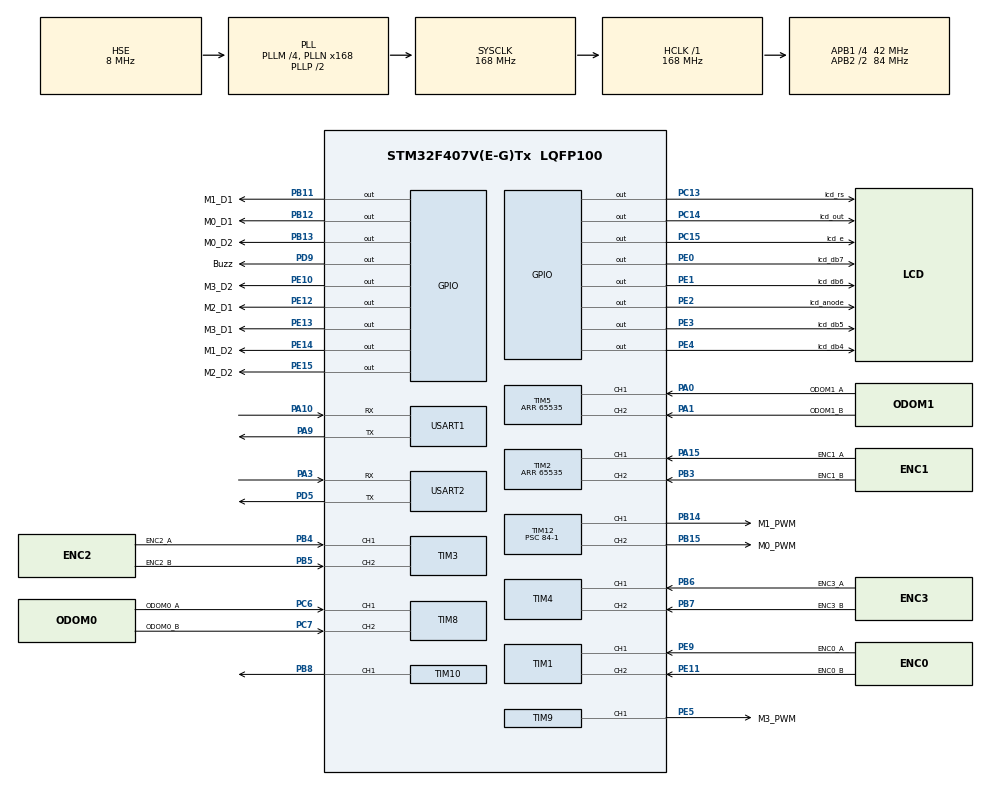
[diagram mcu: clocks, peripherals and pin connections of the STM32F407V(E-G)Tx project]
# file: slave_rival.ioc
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Dma.Request0=USART2_RX
Dma.Request1=USART2_TX
Dma.USART2_RX.0.Direction=DMA_PERIPH_TO_MEMORY
Dma.USART2_RX.0.FIFOMode=DMA_FIFOMODE_DISABLE
Dma.USART2_RX.0.Instance=DMA1_Stream5
Dma.USART2_RX.0.MemDataAlignment=DMA_MDATAALIGN_BYTE
Dma.USART2_RX.0.MemInc=DMA_MINC_ENABLE
Dma.USART2_RX.0.Mode=DMA_NORMAL
Dma.USART2_RX.0.PeriphDataAlignment=DMA_PDATAALIGN_BYTE
Dma.USART2_RX.0.PeriphInc=DMA_PINC_DISABLE
Dma.USART2_RX.0.Priority=DMA_PRIORITY_LOW
Dma.USART2_TX.1.Direction=DMA_MEMORY_TO_PERIPH
Dma.USART2_TX.1.FIFOMode=DMA_FIFOMODE_DISABLE
Dma.USART2_TX.1.Instance=DMA1_Stream6
Dma.USART2_TX.1.MemDataAlignment=DMA_MDATAALIGN_BYTE
Dma.USART2_TX.1.MemInc=DMA_MINC_ENABLE
Dma.USART2_TX.1.Mode=DMA_NORMAL
Dma.USART2_TX.1.PeriphDataAlignment=DMA_PDATAALIGN_BYTE
Dma.USART2_TX.1.PeriphInc=DMA_PINC_DISABLE
Dma.USART2_TX.1.Priority=DMA_PRIORITY_LOW
Mcu.Family=STM32F4
Mcu.Name=STM32F407V(E-G)Tx
Mcu.Package=LQFP100
NVIC.DMA1_Stream5_IRQn=true\:0\:0\:false\:false\:true\:false\:true\:true
NVIC.DMA1_Stream6_IRQn=true\:0\:0\:false\:false\:true\:false\:true\:true
NVIC.PriorityGroup=NVIC_PRIORITYGROUP_4
NVIC.TIM6_DAC_IRQn=true\:0\:0\:false\:false\:true\:true\:true\:true
NVIC.TIM7_IRQn=true\:0\:0\:false\:false\:true\:true\:true\:true
NVIC.USART1_IRQn=true\:0\:0\:false\:false\:true\:true\:true\:true
NVIC.USART2_IRQn=true\:0\:0\:false\:false\:true\:true\:true\:true
PA0-WKUP.GPIO_Label=ODOM1_A
PA0-WKUP.Signal=S_TIM5_CH1
PA1.GPIO_Label=ODOM1_B
PA1.Signal=S_TIM5_CH2
PA10.Mode=Asynchronous
PA10.Signal=USART1_RX
PA15.GPIO_Label=ENC1_A
PA15.Signal=S_TIM2_CH1_ETR
PA3.Mode=Asynchronous
PA3.Signal=USART2_RX
PA9.Mode=Asynchronous
PA9.Signal=USART1_TX
PB11.GPIO_Label=M1_D1
PB11.Signal=GPIO_Output
PB12.GPIO_Label=M0_D1
PB12.Signal=GPIO_Output
PB13.GPIO_Label=M0_D2
PB13.Signal=GPIO_Output
PB14.GPIO_Label=M1_PWM
PB14.Signal=S_TIM12_CH1
PB15.GPIO_Label=M0_PWM
PB15.Signal=S_TIM12_CH2
PB3.GPIO_Label=ENC1_B
PB3.Signal=S_TIM2_CH2
PB4.GPIO_Label=ENC2_A
PB4.Signal=S_TIM3_CH1
PB5.GPIO_Label=ENC2_B
PB5.Signal=S_TIM3_CH2
PB6.GPIO_Label=ENC3_A
PB6.Signal=S_TIM4_CH1
PB7.GPIO_Label=ENC3_B
PB7.Signal=S_TIM4_CH2
PB8.Signal=S_TIM10_CH1
PC13-ANTI_TAMP.GPIO_Label=lcd_rs
PC13-ANTI_TAMP.Signal=GPIO_Output
PC14-OSC32_IN.GPIO_Label=lcd_out
PC14-OSC32_IN.Signal=GPIO_Output
PC15-OSC32_OUT.GPIO_Label=lcd_e
PC15-OSC32_OUT.Signal=GPIO_Output
PC6.GPIO_Label=ODOM0_A
PC6.Signal=S_TIM8_CH1
PC7.GPIO_Label=ODOM0_B
PC7.Signal=S_TIM8_CH2
PD5.Mode=Asynchronous
PD5.Signal=USART2_TX
PD9.GPIO_Label=Buzz
PD9.GPIO_ModeDefaultOutputPP=GPIO_MODE_OUTPUT_OD
PD9.GPIO_PuPd=GPIO_NOPULL
PD9.GPIO_Speed=GPIO_SPEED_FREQ_VERY_HIGH
PD9.PinState=GPIO_PIN_SET
PD9.Signal=GPIO_Output
PE0.GPIO_Label=lcd_db7
PE0.Signal=GPIO_Output
PE1.GPIO_Label=lcd_db6
PE1.Signal=GPIO_Output
PE10.GPIO_Label=M3_D2
PE10.Signal=GPIO_Output
PE11.GPIO_Label=ENC0_B
PE11.Signal=S_TIM1_CH2
PE12.GPIO_Label=M2_D1
PE12.Signal=GPIO_Output
PE13.GPIO_Label=M3_D1
PE13.Signal=GPIO_Output
PE14.GPIO_Label=M1_D2
PE14.Signal=GPIO_Output
PE15.GPIO_Label=M2_D2
PE15.Signal=GPIO_Output
PE2.GPIO_Label=lcd_anode
PE2.Signal=GPIO_Output
PE3.GPIO_Label=lcd_db5
PE3.Signal=GPIO_Output
PE4.GPIO_Label=lcd_db4
PE4.Signal=GPIO_Output
PE5.GPIO_Label=M3_PWM
PE5.Signal=S_TIM9_CH1
PE9.GPIO_Label=ENC0_A
PE9.Signal=S_TIM1_CH1
PH0-OSC_IN.Mode=HSE-External-Oscillator
PH0-OSC_IN.Signal=RCC_OSC_IN
PH1-OSC_OUT.Mode=HSE-External-Oscillator
PH1-OSC_OUT.Signal=RCC_OSC_OUT
ProjectManager.HeapSize=0x200
ProjectManager.StackSize=0x400
ProjectManager.TargetToolchain=STM32CubeIDE
RCC.48MHZClocksFreq_Value=84000000
RCC.AHBFreq_Value=168000000
RCC.APB1CLKDivider=RCC_HCLK_DIV4
RCC.APB1Freq_Value=42000000
RCC.APB1TimFreq_Value=84000000
RCC.APB2CLKDivider=RCC_HCLK_DIV2
RCC.APB2Freq_Value=84000000
RCC.APB2TimFreq_Value=168000000
RCC.CortexFreq_Value=168000000
RCC.HCLKFreq_Value=168000000
RCC.HSE_VALUE=8000000
RCC.HSI_VALUE=16000000
RCC.LSE_VALUE=32768
RCC.PLLM=4
RCC.PLLN=168
RCC.PLLSourceVirtual=RCC_PLLSOURCE_HSE
RCC.SYSCLKFreq_VALUE=168000000
RCC.SYSCLKSource=RCC_SYSCLKSOURCE_PLLCLK
RCC.VCOOutputFreq_Value=336000000
SH.S_TIM10_CH1.0=TIM10_CH1,PWM Generation1 CH1
SH.S_TIM12_CH1.0=TIM12_CH1,PWM Generation1 CH1
SH.S_TIM12_CH2.0=TIM12_CH2,PWM Generation2 CH2
SH.S_TIM1_CH1.0=TIM1_CH1,Encoder_Interface
SH.S_TIM1_CH2.0=TIM1_CH2,Encoder_Interface
SH.S_TIM2_CH1_ETR.0=TIM2_CH1,Encoder_Interface
SH.S_TIM2_CH2.0=TIM2_CH2,Encoder_Interface
SH.S_TIM3_CH1.0=TIM3_CH1,Encoder_Interface
SH.S_TIM3_CH2.0=TIM3_CH2,Encoder_Interface
SH.S_TIM4_CH1.0=TIM4_CH1,Encoder_Interface
SH.S_TIM4_CH2.0=TIM4_CH2,Encoder_Interface
SH.S_TIM5_CH1.0=TIM5_CH1,Encoder_Interface
SH.S_TIM5_CH2.0=TIM5_CH2,Encoder_Interface
SH.S_TIM8_CH1.0=TIM8_CH1,Encoder_Interface
SH.S_TIM8_CH2.0=TIM8_CH2,Encoder_Interface
SH.S_TIM9_CH1.0=TIM9_CH1,PWM Generation1 CH1
TIM1.EncoderMode=TIM_ENCODERMODE_TI12
TIM1.IC1Filter=7
TIM1.IC2Filter=7
TIM10.Channel=TIM_CHANNEL_1
TIM10.Period=500-1
TIM10.Prescaler=168-1
TIM12.Channel-PWM\ Generation1\ CH1=TIM_CHANNEL_1
TIM12.Channel-PWM\ Generation2\ CH2=TIM_CHANNEL_2
TIM12.Period=500-1
TIM12.Prescaler=84-1
TIM2.EncoderMode=TIM_ENCODERMODE_TI12
TIM2.IC1Filter=7
TIM2.IC1Polarity=TIM_ICPOLARITY_FALLING
TIM2.IC2Filter=7
TIM2.Period=65535
TIM3.EncoderMode=TIM_ENCODERMODE_TI12
TIM3.IC1Filter=7
TIM3.IC1Polarity=TIM_ICPOLARITY_FALLING
TIM3.IC2Filter=7
TIM3.IC2Polarity=TIM_ICPOLARITY_FALLING
TIM4.EncoderMode=TIM_ENCODERMODE_TI12
TIM4.IC1Filter=7
TIM4.IC1Polarity=TIM_ICPOLARITY_FALLING
TIM4.IC2Filter=7
TIM5.EncoderMode=TIM_ENCODERMODE_TI12
TIM5.IC1Filter=7
TIM5.IC2Filter=7
TIM5.Period=65535
TIM6.Period=10000-1
TIM6.Prescaler=168-1
TIM6.TIM_MasterOutputTrigger=TIM_TRGO_UPDATE
TIM7.Period=1000-1
TIM7.Prescaler=84-1
TIM7.TIM_MasterOutputTrigger=TIM_TRGO_UPDATE
TIM8.EncoderMode=TIM_ENCODERMODE_TI12
TIM8.IC1Filter=7
TIM8.IC2Filter=7
TIM9.Channel-PWM\ Generation1\ CH1=TIM_CHANNEL_1
TIM9.Period=500-1
TIM9.Prescaler=168-1
USART1.VirtualMode=VM_ASYNC
USART2.VirtualMode=VM_ASYNC
VP_TIM10_VS_ClockSourceINT.Mode=Enable_Timer
VP_TIM6_VS_ClockSourceINT.Mode=Enable_Timer
VP_TIM7_VS_ClockSourceINT.Mode=Enable_Timer
board=custom

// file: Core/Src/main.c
/* USER CODE BEGIN Header */
/**
  ******************************************************************************
  * @file           : main.c
  * @brief          : Main program body
  ******************************************************************************
  * @attention
  *
  * Copyright (c) 2024 STMicroelectronics.
  * All rights reserved.
  *
  * This software is licensed under terms that can be found in the LICENSE file
  * in the root directory of this software component.
  * If no LICENSE file comes with this software, it is provided AS-IS.
  *
  ******************************************************************************
  */
/* USER CODE END Header */
#include "main.h"
#include "dma.h"
#include "tim.h"
#include "usart.h"
#include "gpio.h"

/* USER CODE BEGIN Includes */
#include "string.h"
#include "stdlib.h"
#include "stdio.h"
#include "math.h"
#include "lcd.h"
#include "motor.h"
#include "gyroRionTech.h"
/* USER CODE END Includes */

/* USER CODE BEGIN PV */

// Master-Slave
uint8_t rx_state;
uint8_t rx_temp;
uint8_t rx_buff[32];
uint8_t tx_buff[32]={'i','t','s'};

uint8_t MasterState;
uint32_t MasterTimeout;

// Variabel Motor
int16_t RotEnc[2];
int16_t pwm[4];
int16_t WheelSpeed_ENC[4];

extern float WheelSpeed_SI[4];
extern float WheelSpeed_SP[4];
extern float RobotSpeed[3];

//Uart Gyro
uint8_t uart2_rxData;
uint8_t uart_gyroStatus;
uint8_t uart_gyroData[8];
int16_t buffGyro[3];
float GyroRoll,GyroPitch,GyroYaw;
uint8_t statusGyro = 0;
float offest_gyro;
float LastGyro;
uint8_t GyroReady;

//Odom
float EncRoll[2];
float RoboPose_Global[3];
float RoboPose[3];
float RoboTwist[3];
float RoboTwist_Global[3];
uint16_t enc_sum[2];

//Buzz;
uint32_t time_s;
uint32_t time_stamp;
uint32_t diff_stamp;
uint32_t time_stamp_tx;

char lcd[64];

// Test Variable
short int pwm_test[4];
uint32_t count;

uint32_t time_send;
uint32_t sampling_gyro;

/* USER CODE END PV */

void SystemClock_Config(void);
/* USER CODE BEGIN PFP */

void Slave_Kirim(void)
{
	  //Send To Master
	  time_stamp_tx = HAL_GetTick();
	  memcpy(tx_buff+3,&RoboPose_Global[0],4);
	  memcpy(tx_buff+7,&RoboPose_Global[1],4);
	  memcpy(tx_buff+11,&RoboPose_Global[2],4);
	  memcpy(tx_buff+15,&RoboPose[0],4);
	  memcpy(tx_buff+19,&RoboPose[1],4);
	  memcpy(tx_buff+23, &time_stamp_tx, 4);

	  uint16_t check_s=0;

	  for(int i = 3; i<30; i++){
		  check_s += tx_buff[i];
	  }
	  check_s = ~check_s;

	  memcpy(tx_buff+30, &check_s, 2);

	  HAL_UART_Transmit_IT(&huart1, tx_buff, 32);

}

/* USER CODE END PFP */

int main(void)
{

  /* MCU Configuration--------------------------------------------------------*/

  /* Reset of all peripherals, Initializes the Flash interface and the Systick. */
  HAL_Init();

  /* Configure the system clock */
  SystemClock_Config();

  /* Initialize all configured peripherals */
  MX_GPIO_Init();
  MX_DMA_Init();
  MX_TIM12_Init();
  MX_USART1_UART_Init();
  MX_TIM1_Init();
  MX_TIM2_Init();
  MX_TIM3_Init();
  MX_TIM4_Init();
  MX_TIM5_Init();
  MX_TIM6_Init();
  MX_TIM7_Init();
  MX_TIM8_Init();
  MX_TIM9_Init();
  MX_TIM10_Init();
  MX_USART2_UART_Init();
  /* USER CODE BEGIN 2 */

//  HAL_GPIO_WritePin(Buzz_GPIO_Port, Buzz_Pin, GPIO_PIN_SET);

  //Init Encoder
  HAL_TIM_Encoder_Start(&htim1, TIM_CHANNEL_ALL);
  HAL_TIM_Encoder_Start(&htim2, TIM_CHANNEL_ALL);
  HAL_TIM_Encoder_Start(&htim3, TIM_CHANNEL_ALL);
  HAL_TIM_Encoder_Start(&htim4, TIM_CHANNEL_ALL);
  HAL_TIM_Encoder_Start(&htim5, TIM_CHANNEL_ALL);
  HAL_TIM_Encoder_Start(&htim8, TIM_CHANNEL_ALL);

  //Init Motor
  HAL_TIM_PWM_Start(&htim9, TIM_CHANNEL_1);
  HAL_TIM_PWM_Start(&htim10, TIM_CHANNEL_1);
  HAL_TIM_PWM_Start(&htim12, TIM_CHANNEL_1);
  HAL_TIM_PWM_Start(&htim12, TIM_CHANNEL_2);

  //Init Master slave
  HAL_UART_Receive_IT(&huart1, &rx_temp, 1);

  // Inint Gyro
//  HAL_UART_Receive_IT(&huart2, &uart2_rxData, 1);
  init_gyro(&huart2);

  //Start Interrupt
  HAL_TIM_Base_Start_IT(&htim6);
  HAL_TIM_Base_Start_IT(&htim7);

  lcd_init(16, 4);

  /* USER CODE END 2 */

  /* Infinite loop */
  while (1)
  {

    /* USER CODE BEGIN 3 */
//	  lcd_print(0, 0, "hai");
	  sprintf(lcd, "X=%.2f", RoboPose_Global[0]);
	  lcd_print(0, 0, lcd);
	  sprintf(lcd, "Y=%.2f", RoboPose_Global[1]);
	  lcd_print(8, 0, lcd);
//	  sprintf(lcd, "G=%.2f", RoboPose_Global[2]);
	  sprintf(lcd, "G=%.2f || %d", RoboPose_Global[2],GyroReady);
	  lcd_print(0, 1, lcd);
	  sprintf(lcd, "x=%.2f", RobotSpeed[0]);
	  lcd_print(0, 2, lcd);
	  sprintf(lcd, "y=%.2f", RobotSpeed[1]);
	  lcd_print(8, 2, lcd);
	  sprintf(lcd, "w=%.2f", RobotSpeed[2]);
	  lcd_print(0, 3, lcd);
	  sprintf(lcd, "%c", rx_buff[0]);
	  lcd_print(8, 3, lcd);
	  sprintf(lcd, "%c", rx_buff[1]);
	  lcd_print(9, 3, lcd);
	  sprintf(lcd, "%c", rx_buff[2]);
	  lcd_print(10, 3, lcd);
//	  sprintf(lcd, "%.3d", (HAL_GetTick() - time_stamp)/1000);
//	  lcd_print(11, 3, lcd);
	  diff_stamp = HAL_GetTick() - time_stamp;

	  if(HAL_GetTick() - time_stamp >= 100){
		lcd_print(11, 3, " pts");
//		lcd_clear();
		rx_state = 0;
		HAL_UART_Receive_IT(&huart1, &rx_temp, 1);
	  }
	  else{
		  lcd_print(11, 3, "     ");
	  }

	  if(HAL_GetTick() - tick_gyro > 100)
	  {
		  init_gyro(&huart2);
	  }

//
//	  if(statusGyro == 1)
//	  {
//
//		  if(++sampling_gyro > 100)
//		  {
////			if((fabs(LastGyro - GyroYaw) < 0.01 ) && (HAL_GetTick() > 100))
//			if((fabs(LastGyro - GyroYaw) < 0.01))
//				GyroReady = 1;
//
//			LastGyro = GyroYaw;
//
//			sampling_gyro = 0;
//
//		  }
//
//	  }

//	  if(HAL_GetTick() - time_s > 2000)
//	  {
//		  time_s = HAL_GetTick();
//
//		  for(int i = 0;i<3;i++)
//		  {
//			  HAL_GPIO_WritePin(Buzz_GPIO_Port, Buzz_Pin, GPIO_PIN_RESET);
//			  HAL_Delay(50);
//			  HAL_GPIO_WritePin(Buzz_GPIO_Port, Buzz_Pin, GPIO_PIN_SET);
//			  HAL_Delay(50);
//		  }
//	  }

	  HAL_Delay(1);

  }
  /* USER CODE END 3 */
}

void SystemClock_Config(void)
{
  RCC_OscInitTypeDef RCC_OscInitStruct = {0};
  RCC_ClkInitTypeDef RCC_ClkInitStruct = {0};

  /** Configure the main internal regulator output voltage
  */
  __HAL_RCC_PWR_CLK_ENABLE();
  __HAL_PWR_VOLTAGESCALING_CONFIG(PWR_REGULATOR_VOLTAGE_SCALE1);

  /** Initializes the RCC Oscillators according to the specified parameters
  * in the RCC_OscInitTypeDef structure.
  */
  RCC_OscInitStruct.OscillatorType = RCC_OSCILLATORTYPE_HSE;
  RCC_OscInitStruct.HSEState = RCC_HSE_ON;
  RCC_OscInitStruct.PLL.PLLState = RCC_PLL_ON;
  RCC_OscInitStruct.PLL.PLLSource = RCC_PLLSOURCE_HSE;
  RCC_OscInitStruct.PLL.PLLM = 4;
  RCC_OscInitStruct.PLL.PLLN = 168;
  RCC_OscInitStruct.PLL.PLLP = RCC_PLLP_DIV2;
  RCC_OscInitStruct.PLL.PLLQ = 4;
  if (HAL_RCC_OscConfig(&RCC_OscInitStruct) != HAL_OK)
  {
    Error_Handler();
  }

  /** Initializes the CPU, AHB and APB buses clocks
  */
  RCC_ClkInitStruct.ClockType = RCC_CLOCKTYPE_HCLK|RCC_CLOCKTYPE_SYSCLK
                              |RCC_CLOCKTYPE_PCLK1|RCC_CLOCKTYPE_PCLK2;
  RCC_ClkInitStruct.SYSCLKSource = RCC_SYSCLKSOURCE_PLLCLK;
  RCC_ClkInitStruct.AHBCLKDivider = RCC_SYSCLK_DIV1;
  RCC_ClkInitStruct.APB1CLKDivider = RCC_HCLK_DIV4;
  RCC_ClkInitStruct.APB2CLKDivider = RCC_HCLK_DIV2;

  if (HAL_RCC_ClockConfig(&RCC_ClkInitStruct, FLASH_LATENCY_5) != HAL_OK)
  {
    Error_Handler();
  }
}

/* USER CODE BEGIN 4 */

void HAL_UART_RxCpltCallback(UART_HandleTypeDef *huart)
{
	// Master-slave
	if(huart->Instance == USART1)
	{
		if(rx_temp == 'i' && rx_state == 0)
		{
			rx_state = 1;
			rx_buff[0] = rx_temp;
			HAL_UART_Receive_IT(&huart1, &rx_temp, 1);
		}
		else if(rx_temp == 't' && rx_state == 1)
		{
			rx_state = 2;
			rx_buff[1] = rx_temp;
			HAL_UART_Receive_IT(&huart1, &rx_temp, 1);
		}
		else if(rx_temp == 's' && rx_state == 2)
		{
			rx_state = 3;
			rx_buff[2] = rx_temp;
			HAL_UART_Receive_IT(&huart1, rx_buff+3, 29);
		}
		else if(rx_state == 3)
		{
			uint16_t check_s=0;
			for(int i=3;i<30;i++)
			{
				check_s += rx_buff[i];
			}
			check_s = ~check_s;

			uint16_t check_recv;
			memcpy(&check_recv,rx_buff+30,2);

			if(check_recv == check_s)
			{
				time_stamp = HAL_GetTick();
//				memcpy(&count, rx_buff+15, sizeof(count));
				MasterState =1;
				MasterTimeout=0;
				memcpy(RobotSpeed,rx_buff+3,12);

			}

			rx_state = 0;
			HAL_UART_Receive_IT(&huart1, &rx_temp, 1);
		}
		else
		{
			rx_state = 0;
			HAL_UART_Receive_IT(&huart1, &rx_temp, 1);
		}
	}

	//GyroRionTech
	else if(huart->Instance ==  USART2)
	{
		gyroUART_handler(&huart2);
		GyroYaw = gyroRaw - offest_gyro;
		if(GyroYaw > 0 || GyroYaw <0){
			GyroReady = 1;
		}

		if(GyroYaw > 180)
			GyroYaw -= 360;
		else if(GyroYaw < -180)
			GyroYaw += 360;

		if(statusGyroo < 4)
		{
			offest_gyro = gyroRaw;
		}
	}

	//Gyro
//	else if(huart->Instance == USART2)
//	{
//		if (uart2_rxData == 0xAA && uart_gyroStatus == 0)
//		{
//			HAL_UART_Receive_IT(&huart2, uart_gyroData + 1, 7);
//			uart_gyroData[0] = 0xAA;
//			uart_gyroStatus = 1;
//		}
//		else if (uart_gyroStatus == 1)
//		{
//
//			if (uart_gyroData[0] == 0xAA && uart_gyroData[7] == 0x55)
//			{
//
//				buffGyro[0] = (((uint16_t) uart_gyroData[1] << 8)
//						| (uint16_t) uart_gyroData[2]);
//				buffGyro[1] = (((uint16_t) uart_gyroData[3] << 8)
//						| (uint16_t) uart_gyroData[4]);
//				buffGyro[2] = (((uint16_t) uart_gyroData[5] << 8)
//						| (uint16_t) uart_gyroData[6]);
//				float buff_yaw;
//
//				buff_yaw = (float) buffGyro[0] * 0.01;
//
//				if (statusGyro == 0)
//				{
//					statusGyro = 1;
//					offest_gyro = buff_yaw;
//				}
//
//				GyroYaw = buff_yaw - offest_gyro;
//
//				if (GyroYaw > 180)
//					GyroYaw -= 360;
//				else if (GyroYaw < -180)
//					GyroYaw += 360;
//
//				GyroPitch = (float) buffGyro[1] * 0.01;
//				GyroRoll = (float) buffGyro[2] * 0.01;
//
//
//
//
//
//			}
//
//			HAL_UART_Receive_IT(&huart2, &uart2_rxData, 1);
//			uart_gyroStatus = 0;
//
//		}
//		else
//		{
//			HAL_UART_Receive_IT(&huart2, &uart2_rxData, 1);
//			uart_gyroStatus = 0;
//		}
//	}

}

void HAL_TIM_PeriodElapsedCallback(TIM_HandleTypeDef *htim)
{

	// Timer 50 hz
	if(htim->Instance == TIM6)
	{

		  WheelSpeed_ENC[0] = __HAL_TIM_GET_COUNTER(&htim1);
		  WheelSpeed_ENC[1] = __HAL_TIM_GET_COUNTER(&htim2);
		  WheelSpeed_ENC[2] = __HAL_TIM_GET_COUNTER(&htim3);
		  WheelSpeed_ENC[3] = __HAL_TIM_GET_COUNTER(&htim4);

		  for( int i = 0; i<4; i++)
		  {
			  WheelSpeed_SI[i] = ((float)WheelSpeed_ENC[i] / 532.0) * M_PI * 2.0 * 50.0;
		  }
		   __HAL_TIM_GET_COUNTER(&htim1) = 0;
		   __HAL_TIM_GET_COUNTER(&htim2) = 0;
		   __HAL_TIM_GET_COUNTER(&htim3) = 0;
		   __HAL_TIM_GET_COUNTER(&htim4) = 0;

		omniKine(RobotSpeed[0], RobotSpeed[1], RobotSpeed[2]);

		if(MasterState == 1)
		{
			MotorSetSpeed(WheelSpeed_SP);

			if(++MasterTimeout > 50)
				MasterState = 0;
		}
		else
		{
			WheelSpeed_SP[0] = 0;
			WheelSpeed_SP[1] = 0;
			WheelSpeed_SP[2] = 0;
			WheelSpeed_SP[3] = 0;
			MotorSetSpeed(WheelSpeed_SP);
//			rx_state = 0;
//			HAL_UART_Receive_IT(&huart1, &rx_temp, 1);
		}

	}

	//Timer 1KHz
	else if(htim->Instance == TIM7)
	{

		if(++time_send>10)
		{
			Slave_Kirim();
			time_send = 0;
		}

		RotEnc[0] = __HAL_TIM_GET_COUNTER(&htim5);
		RotEnc[1] = __HAL_TIM_GET_COUNTER(&htim8);
		enc_sum[0] += RotEnc[0];
		enc_sum[1] += RotEnc[1];

		EncRoll[0] = RotEnc[0] / 1440.0;
		EncRoll[1] = RotEnc[1] / 1440.0;

		RoboTwist[0] = EncRoll[0] * 0.06 * M_PI;
		RoboTwist[1] = EncRoll[1] * 0.06 * M_PI;

		RoboTwist_Global[0] = cosf(GyroYaw * 0.0174533) * RoboTwist[0]
				- sinf(GyroYaw * 0.0174533) * RoboTwist[1];
		RoboTwist_Global[1] = sinf(GyroYaw * 0.0174533) * RoboTwist[0]
				+ cosf(GyroYaw * 0.0174533) * RoboTwist[1];

		RoboPose[0] += RoboTwist[0];
		RoboPose[1] += RoboTwist[1];
		RoboPose[2] = GyroYaw * 0.0174533;

		RoboPose_Global[0] += RoboTwist_Global[0]; //dalam meter
		RoboPose_Global[1] += RoboTwist_Global[1]; //jdi kebacanya 0.05m berrti 50 cm
		RoboPose_Global[2] = GyroYaw * 0.0174533;

		   __HAL_TIM_GET_COUNTER(&htim5) = 0;
		   __HAL_TIM_GET_COUNTER(&htim8) = 0;

	}

}

/* USER CODE END 4 */

void Error_Handler(void)
{
  __disable_irq();
  while (1)
  {
  }
}
